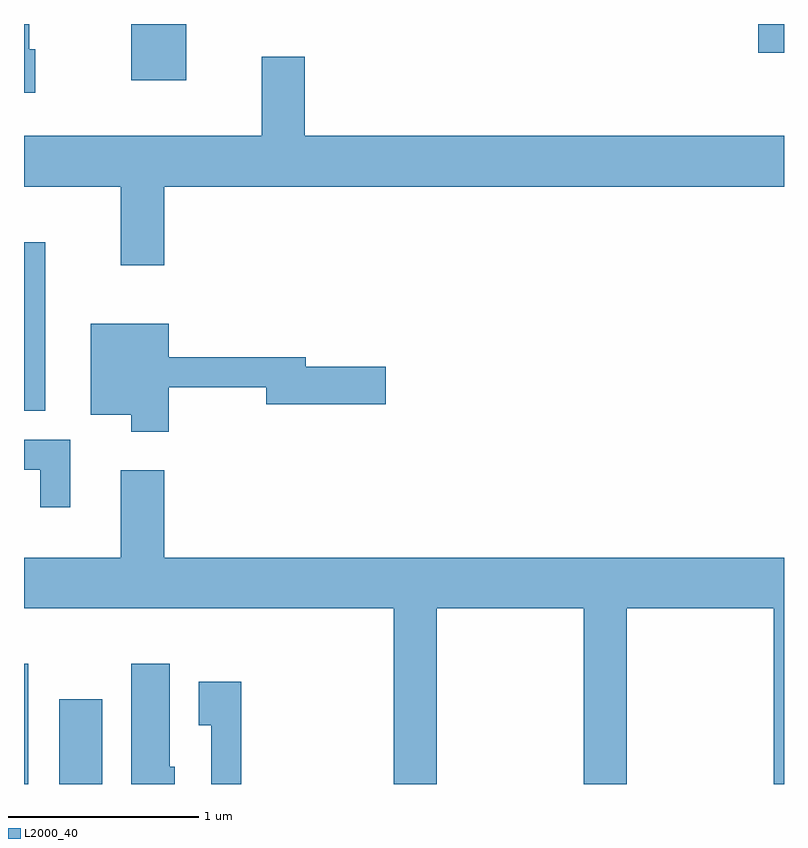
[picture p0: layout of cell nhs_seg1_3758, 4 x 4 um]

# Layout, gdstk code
import gdstk
lib = gdstk.Library(unit=1e-6, precision=1e-09)
def R(c, l, rs):  # rectangles x0, y0, x1, y1
    for r in rs: c.add(gdstk.rectangle(r[:2], r[2:], *l))
def P(c, l, *ps):  # polygons
    for p in ps: c.add(gdstk.Polygon(p, *l))
L2000_40 = (2000, 40)

nhs_seg1_3758 = lib.new_cell('nhs_seg1_3758')
R(nhs_seg1_3758, L2000_40, [(297.611,949.712,297.634,950.344), (297.796,949.712,298.024,950.159), (297.611,951.676,297.724,952.564), (298.176,953.416,298.464,953.712), (301.476,953.561,301.611,953.712)])
P(nhs_seg1_3758, L2000_40, [(297.669,953.579),(297.639,953.579),(297.639,953.712),(297.611,953.712),(297.611,953.351),(297.669,953.351)],
  [(298.349,952.856),(301.611,952.856),(301.611,953.124),(299.089,953.124),(299.089,953.539),(298.861,953.539),(298.861,953.124),(297.611,953.124),(297.611,952.856),(298.121,952.856),(298.121,952.441),(298.349,952.441)],
  [(298.374,951.801),(298.886,951.801),(298.886,951.711),(299.514,951.711),(299.514,951.909),(299.094,951.909),(299.094,951.959),(298.374,951.959),(298.374,952.134),(297.961,952.134),(297.961,951.656),(298.176,951.656),(298.176,951.566),(298.374,951.566)],
  [(297.854,951.524),(297.611,951.524),(297.611,951.366),(297.696,951.366),(297.696,951.168),(297.854,951.168)],
  [(299.784,950.636),(300.556,950.636),(300.556,949.712),(300.784,949.712),(300.784,950.636),(301.556,950.636),(301.556,949.712),(301.611,949.712),(301.611,950.904),(298.349,950.904),(298.349,951.364),(298.121,951.364),(298.121,950.904),(297.611,950.904),(297.611,950.636),(299.556,950.636),(299.556,949.712),(299.784,949.712)],
  [(298.404,949.804),(298.379,949.804),(298.379,950.344),(298.176,950.344),(298.176,949.712),(298.404,949.712)],
  [(298.754,950.249),(298.531,950.249),(298.531,950.021),(298.596,950.021),(298.596,949.712),(298.754,949.712)])

lib.write_gds('nhs_seg1_3758.gds')
